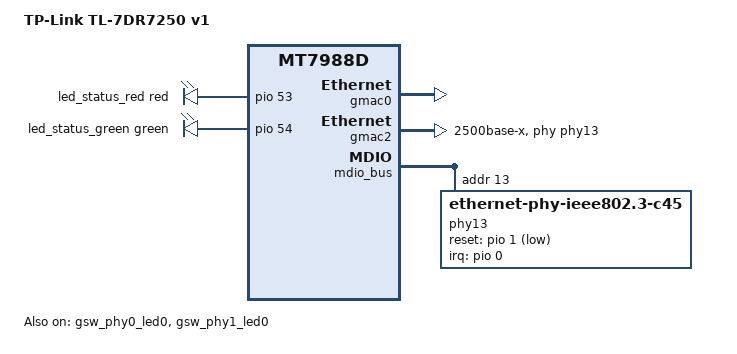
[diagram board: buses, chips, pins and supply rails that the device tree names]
// SPDX-License-Identifier: GPL-2.0-or-later OR MIT

/dts-v1/;
#include "mt7988d-tplink-tl-7dr72xx.dtsi"

/ {
	model = "TP-Link TL-7DR7250 v1";
	compatible = "tplink,tl-7dr7250-v1", "mediatek,mt7988d";

	aliases {
		led-boot = &led_status_green;
		led-failsafe = &led_status_red;
		led-running = &led_status_green;
		led-upgrade = &led_status_red;
	};

	leds {
		compatible = "gpio-leds";

		led_status_red: status-red {
			function = LED_FUNCTION_STATUS;
			color = <LED_COLOR_ID_RED>;
			gpios = <&pio 53 GPIO_ACTIVE_HIGH>;
		};

		led_status_green: status-green {
			function = LED_FUNCTION_STATUS;
			color = <LED_COLOR_ID_GREEN>;
			gpios = <&pio 54 GPIO_ACTIVE_HIGH>;
		};
	};
};

&gmac0 {
	nvmem-cells = <&macaddr_config_1c 0>;
	nvmem-cell-names = "mac-address";
	status = "okay";
};

&gmac1 {
	nvmem-cells = <&macaddr_config_1c 0>;
	nvmem-cell-names = "mac-address";
};

&gmac2 {
	nvmem-cells = <&macaddr_config_1c 1>;
	nvmem-cell-names = "mac-address";
	phy-mode = "2500base-x";
	phy-handle = <&phy13>;
	status = "okay";
};

&gsw_phy0 {
	pinctrl-names = "gbe-led";
	pinctrl-0 = <&gbe0_led0_pins>;
};

&gsw_phy0_led0 {
	color = <LED_COLOR_ID_GREEN>;
	function = LED_FUNCTION_LAN;
	status = "okay";
};

&gsw_phy1 {
	pinctrl-names = "gbe-led";
	pinctrl-0 = <&gbe1_led0_pins>;
};

&gsw_phy1_led0 {
	color = <LED_COLOR_ID_GREEN>;
	function = LED_FUNCTION_LAN;
	status = "okay";
};

&gsw_phy2 {
	status = "disabled";
};

&gsw_phy3 {
	status = "disabled";
};

&gsw_port0 {
	label = "lan2";
};

&gsw_port1 {
	label = "lan1";
};

&gsw_port2 {
	status = "disabled";
};

&gsw_port3 {
	status = "disabled";
};

&i2p5gbe_led0 {
	color = <LED_COLOR_ID_GREEN>;
	function = LED_FUNCTION_LAN;
};

&mdio_bus {
	phy13: ethernet-phy@13 {
		compatible = "ethernet-phy-ieee802.3-c45";
		reg = <13>;
		reset-assert-us = <10000>;
		reset-deassert-us = <20000>;
		reset-gpios = <&pio 1 GPIO_ACTIVE_LOW>;
		interrupts = <0 IRQ_TYPE_EDGE_FALLING>;
		interrupt-parent = <&pio>;
	};
};

&pio {
	gbe0_led0_pins: gbe0-led0-pins {
		mux {
			function = "led";
			groups = "gbe0_led0";
		};
	};

	gbe1_led0_pins: gbe1-led0-pins {
		mux {
			function = "led";
			groups = "gbe1_led0";
		};
	};
};
